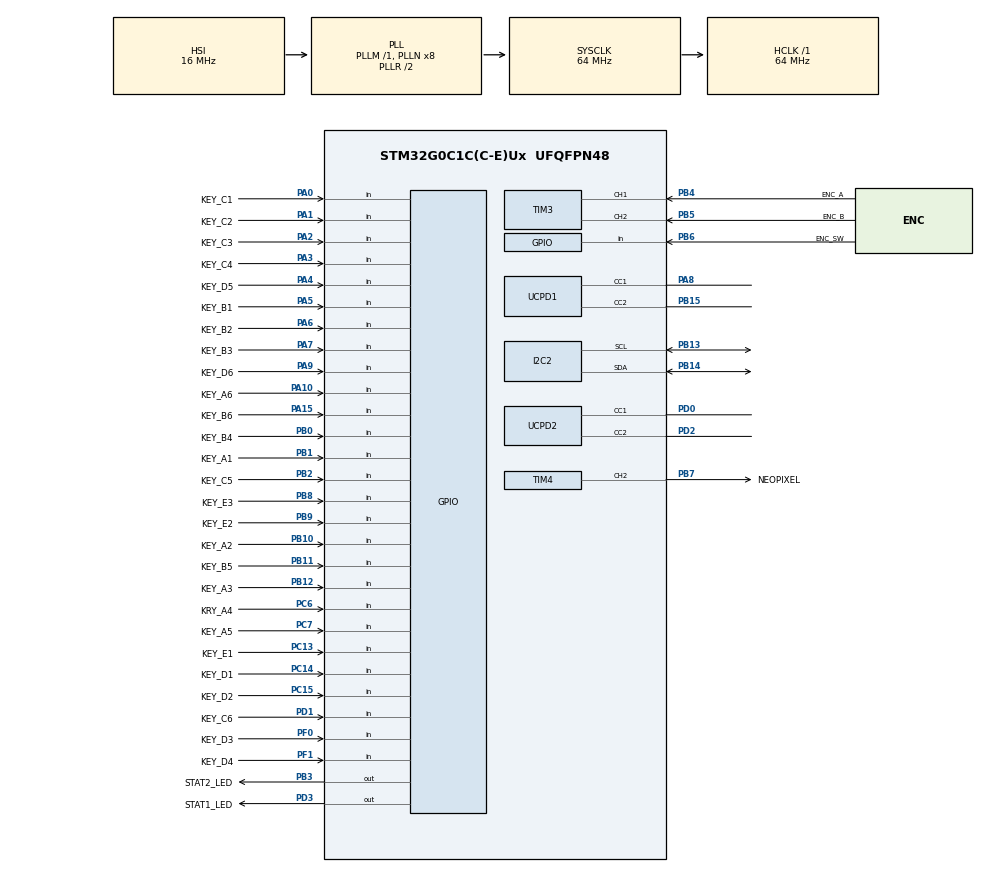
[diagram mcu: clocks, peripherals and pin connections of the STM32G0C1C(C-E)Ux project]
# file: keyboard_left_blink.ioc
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Dma.Request0=TIM4_CH2
Dma.TIM4_CH2.0.Direction=DMA_MEMORY_TO_PERIPH
Dma.TIM4_CH2.0.EventEnable=DISABLE
Dma.TIM4_CH2.0.Instance=DMA1_Channel1
Dma.TIM4_CH2.0.MemDataAlignment=DMA_MDATAALIGN_WORD
Dma.TIM4_CH2.0.MemInc=DMA_MINC_ENABLE
Dma.TIM4_CH2.0.Mode=DMA_CIRCULAR
Dma.TIM4_CH2.0.PeriphDataAlignment=DMA_PDATAALIGN_WORD
Dma.TIM4_CH2.0.PeriphInc=DMA_PINC_DISABLE
Dma.TIM4_CH2.0.Polarity=HAL_DMAMUX_REQ_GEN_RISING
Dma.TIM4_CH2.0.Priority=DMA_PRIORITY_VERY_HIGH
Dma.TIM4_CH2.0.RequestNumber=1
Dma.TIM4_CH2.0.SignalID=NONE
Dma.TIM4_CH2.0.SyncEnable=DISABLE
Dma.TIM4_CH2.0.SyncPolarity=HAL_DMAMUX_SYNC_NO_EVENT
Dma.TIM4_CH2.0.SyncRequestNumber=1
Dma.TIM4_CH2.0.SyncSignalID=NONE
I2C2.Timing=0x10707DBC
Mcu.Family=STM32G0
Mcu.Name=STM32G0C1C(C-E)Ux
Mcu.Package=UFQFPN48
NVIC.DMA1_Channel1_IRQn=true\:0\:0\:false\:false\:true\:false\:true\:true
NVIC.RCC_IRQn=true\:0\:0\:false\:false\:true\:true\:false\:true
NVIC.TIM3_TIM4_IRQn=true\:0\:0\:false\:false\:true\:true\:true\:true
PA0.GPIO_Label=KEY_C1
PA0.GPIO_PuPd=GPIO_PULLUP
PA0.Signal=GPIO_Input
PA1.GPIO_Label=KEY_C2
PA1.GPIO_PuPd=GPIO_PULLUP
PA1.Signal=GPIO_Input
PA10.GPIO_Label=KEY_A6
PA10.GPIO_PuPd=GPIO_PULLUP
PA10.Signal=GPIO_Input
PA13.Mode=Serial_Wire
PA13.Signal=SYS_SWDIO
PA14-BOOT0.Mode=Serial_Wire
PA14-BOOT0.Signal=SYS_SWCLK
PA15.GPIO_Label=KEY_B6
PA15.GPIO_PuPd=GPIO_PULLUP
PA15.Signal=GPIO_Input
PA2.GPIO_Label=KEY_C3
PA2.GPIO_PuPd=GPIO_PULLUP
PA2.Signal=GPIO_Input
PA3.GPIO_Label=KEY_C4
PA3.GPIO_PuPd=GPIO_PULLUP
PA3.Signal=GPIO_Input
PA4.GPIO_Label=KEY_D5
PA4.GPIO_PuPd=GPIO_PULLUP
PA4.Signal=GPIO_Input
PA5.GPIO_Label=KEY_B1
PA5.GPIO_PuPd=GPIO_PULLUP
PA5.Signal=GPIO_Input
PA6.GPIO_Label=KEY_B2
PA6.GPIO_PuPd=GPIO_PULLUP
PA6.Signal=GPIO_Input
PA7.GPIO_Label=KEY_B3
PA7.GPIO_PuPd=GPIO_PULLUP
PA7.Signal=GPIO_Input
PA8.Mode=Dual_Role_AllSignals
PA8.Signal=UCPD1_CC1
PA9.GPIO_Label=KEY_D6
PA9.GPIO_PuPd=GPIO_PULLUP
PA9.Signal=GPIO_Input
PB0.GPIO_Label=KEY_B4
PB0.GPIO_PuPd=GPIO_PULLUP
PB0.Signal=GPIO_Input
PB1.GPIO_Label=KEY_A1
PB1.GPIO_PuPd=GPIO_PULLUP
PB1.Signal=GPIO_Input
PB10.GPIO_Label=KEY_A2
PB10.GPIO_PuPd=GPIO_PULLUP
PB10.Signal=GPIO_Input
PB11.GPIO_Label=KEY_B5
PB11.GPIO_PuPd=GPIO_PULLUP
PB11.Signal=GPIO_Input
PB12.GPIO_Label=KEY_A3
PB12.GPIO_PuPd=GPIO_PULLUP
PB12.Signal=GPIO_Input
PB13.Mode=I2C
PB13.Signal=I2C2_SCL
PB14.Mode=I2C
PB14.Signal=I2C2_SDA
PB15.Mode=Dual_Role_AllSignals
PB15.Signal=UCPD1_CC2
PB2.GPIO_Label=KEY_C5
PB2.GPIO_PuPd=GPIO_PULLUP
PB2.Signal=GPIO_Input
PB3.GPIO_Label=STAT2_LED
PB3.Signal=GPIO_Output
PB4.GPIO_Label=ENC_A
PB4.Signal=S_TIM3_CH1
PB5.GPIO_Label=ENC_B
PB5.Signal=S_TIM3_CH2
PB6.GPIO_Label=ENC_SW
PB6.GPIO_PuPd=GPIO_PULLUP
PB6.Signal=GPIO_Input
PB7.GPIO_Label=NEOPIXEL
PB7.Signal=S_TIM4_CH2
PB8.GPIO_Label=KEY_E3
PB8.GPIO_PuPd=GPIO_PULLUP
PB8.Signal=GPIO_Input
PB9.GPIO_Label=KEY_E2
PB9.GPIO_PuPd=GPIO_PULLUP
PB9.Signal=GPIO_Input
PC13.GPIO_Label=KEY_E1
PC13.GPIO_PuPd=GPIO_PULLUP
PC13.Signal=GPIO_Input
PC14-OSC32_IN\ (PC14).GPIO_Label=KEY_D1
PC14-OSC32_IN\ (PC14).GPIO_PuPd=GPIO_PULLUP
PC14-OSC32_IN\ (PC14).Signal=GPIO_Input
PC15-OSC32_OUT\ (PC15).GPIO_Label=KEY_D2
PC15-OSC32_OUT\ (PC15).GPIO_PuPd=GPIO_PULLUP
PC15-OSC32_OUT\ (PC15).Signal=GPIO_Input
PC6.GPIO_Label=KRY_A4
PC6.GPIO_PuPd=GPIO_PULLUP
PC6.Signal=GPIO_Input
PC7.GPIO_Label=KEY_A5
PC7.GPIO_PuPd=GPIO_PULLUP
PC7.Signal=GPIO_Input
PD0.Mode=Dual_Role_AllSignals
PD0.Signal=UCPD2_CC1
PD1.GPIO_Label=KEY_C6
PD1.GPIO_PuPd=GPIO_PULLUP
PD1.Signal=GPIO_Input
PD2.Mode=Dual_Role_AllSignals
PD2.Signal=UCPD2_CC2
PD3.GPIO_Label=STAT1_LED
PD3.Signal=GPIO_Output
PF0-OSC_IN\ (PF0).GPIO_Label=KEY_D3
PF0-OSC_IN\ (PF0).GPIO_PuPd=GPIO_PULLUP
PF0-OSC_IN\ (PF0).Signal=GPIO_Input
PF1-OSC_OUT\ (PF1).GPIO_Label=KEY_D4
PF1-OSC_OUT\ (PF1).GPIO_PuPd=GPIO_PULLUP
PF1-OSC_OUT\ (PF1).Signal=GPIO_Input
ProjectManager.HeapSize=0x200
ProjectManager.StackSize=0x400
ProjectManager.TargetToolchain=STM32CubeIDE
RCC.ADCFreq_Value=64000000
RCC.AHBFreq_Value=64000000
RCC.CortexFreq_Value=64000000
RCC.EXTERNAL_CLOCK_VALUE=48000
RCC.HCLKFreq_Value=64000000
RCC.HSE_VALUE=8000000
RCC.HSI48_VALUE=48000000
RCC.HSI_VALUE=16000000
RCC.LSE_VALUE=32768
RCC.PLLQ=RCC_PLLQ_DIV4
RCC.SYSCLKFreq_VALUE=64000000
RCC.SYSCLKSource=RCC_SYSCLKSOURCE_PLLCLK
RCC.USBFreq_Value=48000000
RCC.VCOOutputFreq_Value=128000000
SH.S_TIM3_CH1.0=TIM3_CH1,Encoder_Interface
SH.S_TIM3_CH2.0=TIM3_CH2,Encoder_Interface
SH.S_TIM4_CH2.0=TIM4_CH2,PWM Generation2 CH2
SYS.VoltageScaling=SYSCFG_VREFBUF_VOLTAGE_SCALE1
TIM3.EncoderMode=TIM_ENCODERMODE_TI12
TIM4.Channel-PWM\ Generation2\ CH2=TIM_CHANNEL_2
TIM4.OCFastMode_PWM-PWM\ Generation2\ CH2=TIM_OCFAST_DISABLE
TIM4.Period=76
VP_SYS_VS_DBSignals.Mode=DisableDeadBatterySignals
VP_TIM4_VS_ClockSourceINT.Mode=Internal
VREF+.Mode=InternalMode
VREF+.Signal=VREFBUF_OUT
board=custom

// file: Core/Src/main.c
/* USER CODE BEGIN Header */
/**
 ******************************************************************************
 * @file           : main.c
 * @brief          : Main program body
 ******************************************************************************
 * @attention
 *
 * Copyright (c) 2024 STMicroelectronics.
 * All rights reserved.
 *
 * This software is licensed under terms that can be found in the LICENSE file
 * in the root directory of this software component.
 * If no LICENSE file comes with this software, it is provided AS-IS.
 *
 ******************************************************************************
 */
/* USER CODE END Header */
#include "main.h"

/* USER CODE BEGIN Includes */
//#include "neopixel.h"
/* USER CODE END Includes */

/* USER CODE BEGIN PTD */
typedef union
{
	struct
	{
		uint8_t b;
		uint8_t r;
		uint8_t g;
	} color;
	uint32_t data;
} PixelRGB_t;

typedef union
{
	struct
	{
		uint8_t w;
		uint8_t b;
		uint8_t r;
		uint8_t g;
	} color;
	uint32_t data;
} PixelRGBW_t;
/* USER CODE END PTD */

/* USER CODE BEGIN PD */
#define NEOPIXEL_ZERO 19
#define NEOPIXEL_ONE 38

#define NUM_PIXELS 27
#define DMA_BUFF_SIZE (NUM_PIXELS * 24) + 1
/* USER CODE END PD */

I2C_HandleTypeDef hi2c2;

TIM_HandleTypeDef htim3;
TIM_HandleTypeDef htim4;
DMA_HandleTypeDef hdma_tim4_ch2;

void SystemClock_Config(void);
static void MX_GPIO_Init(void);
static void MX_DMA_Init(void);
static void MX_I2C2_Init(void);
static void MX_TIM3_Init(void);
static void MX_TIM4_Init(void);
static void MX_UCPD1_Init(void);
static void MX_UCPD2_Init(void);

/* USER CODE BEGIN 0 */

void HAL_TIM_PWM_PulseFinishedCallback(TIM_HandleTypeDef *htim)
{
	if (htim->Instance == TIM4){
		HAL_TIM_PWM_Stop_DMA(htim, TIM_CHANNEL_2);
	}

}
/* USER CODE END 0 */

int main(void)
{

  /* USER CODE BEGIN 1 */
	PixelRGB_t pixel[NUM_PIXELS] = {0};
	uint32_t dmaBuffer[DMA_BUFF_SIZE] = {0};
	uint32_t *pBuff;
	int i, j, k;
	uint16_t stepSize;
  /* USER CODE END 1 */

  /* MCU Configuration--------------------------------------------------------*/

  /* Reset of all peripherals, Initializes the Flash interface and the Systick. */
  HAL_Init();

  /* Configure the system clock */
  SystemClock_Config();

  /* Initialize all configured peripherals */
  MX_GPIO_Init();
  MX_DMA_Init();
  MX_I2C2_Init();
  MX_TIM3_Init();
  MX_TIM4_Init();
  MX_UCPD1_Init();
  MX_UCPD2_Init();

  /* Infinite loop */
  /* USER CODE BEGIN WHILE */
	k = 0;
	stepSize = 4;
	while (1)
	{

		HAL_GPIO_TogglePin(STAT1_LED_GPIO_Port, STAT1_LED_Pin);
    /* USER CODE END WHILE */

    /* USER CODE BEGIN 3 */
		for (i = (NUM_PIXELS - 1); i > 0; i--)
		{
			pixel[i].data = pixel[i-1].data;
		}

		if (k < 255)
		{
			pixel[0].color.g = 254 - k; //[254, 0]
			pixel[0].color.r =  k + 1;  //[1, 255]
			pixel[0].color.b = 0;
		}
		else if (k < 510)
		{
			pixel[0].color.g = 0;
			pixel[0].color.r = 509 - k; //[254, 0]
			pixel[0].color.b = k - 254; //[1, 255]
			j++;
		}
		else if (k < 765)
		{
			pixel[0].color.g = k - 509; //[1, 255];
			pixel[0].color.r = 0;
			pixel[0].color.b = 764 - k; //[254, 0]
		}
		k = (k + stepSize) % 765;

		// not so bright
//		pixel[0].color.g >>= 2;
//		pixel[0].color.r >>= 2;
//		pixel[0].color.b >>= 2;
		pixel[0].color.g = 0;
		pixel[0].color.r = 0;
		pixel[0].color.b = 0;

		pBuff = dmaBuffer;
		for (i = 0; i < NUM_PIXELS; i++)
		{
			for (j = 23; j >= 0; j--)
			{
				if ((pixel[i].data >> j) & 0x01)
				{
					*pBuff = NEOPIXEL_ONE;
				}
				else
				{
					*pBuff = NEOPIXEL_ZERO;
				}
				pBuff++;
			}
		}
		dmaBuffer[DMA_BUFF_SIZE - 1] = 0; // last element must be 0!

		HAL_TIM_PWM_Start_DMA(&htim4, TIM_CHANNEL_2, dmaBuffer, DMA_BUFF_SIZE);

		HAL_Delay(10);
	}
  /* USER CODE END 3 */
}

void SystemClock_Config(void)
{
  RCC_OscInitTypeDef RCC_OscInitStruct = {0};
  RCC_ClkInitTypeDef RCC_ClkInitStruct = {0};

  /** Configure the main internal regulator output voltage
  */
  HAL_PWREx_ControlVoltageScaling(PWR_REGULATOR_VOLTAGE_SCALE1);

  /** Initializes the RCC Oscillators according to the specified parameters
  * in the RCC_OscInitTypeDef structure.
  */
  RCC_OscInitStruct.OscillatorType = RCC_OSCILLATORTYPE_HSI;
  RCC_OscInitStruct.HSIState = RCC_HSI_ON;
  RCC_OscInitStruct.HSIDiv = RCC_HSI_DIV1;
  RCC_OscInitStruct.HSICalibrationValue = RCC_HSICALIBRATION_DEFAULT;
  RCC_OscInitStruct.PLL.PLLState = RCC_PLL_ON;
  RCC_OscInitStruct.PLL.PLLSource = RCC_PLLSOURCE_HSI;
  RCC_OscInitStruct.PLL.PLLM = RCC_PLLM_DIV1;
  RCC_OscInitStruct.PLL.PLLN = 8;
  RCC_OscInitStruct.PLL.PLLP = RCC_PLLP_DIV2;
  RCC_OscInitStruct.PLL.PLLQ = RCC_PLLQ_DIV4;
  RCC_OscInitStruct.PLL.PLLR = RCC_PLLR_DIV2;
  if (HAL_RCC_OscConfig(&RCC_OscInitStruct) != HAL_OK)
  {
    Error_Handler();
  }

  /** Initializes the CPU, AHB and APB buses clocks
  */
  RCC_ClkInitStruct.ClockType = RCC_CLOCKTYPE_HCLK|RCC_CLOCKTYPE_SYSCLK
                              |RCC_CLOCKTYPE_PCLK1;
  RCC_ClkInitStruct.SYSCLKSource = RCC_SYSCLKSOURCE_PLLCLK;
  RCC_ClkInitStruct.AHBCLKDivider = RCC_SYSCLK_DIV1;
  RCC_ClkInitStruct.APB1CLKDivider = RCC_HCLK_DIV1;

  if (HAL_RCC_ClockConfig(&RCC_ClkInitStruct, FLASH_LATENCY_2) != HAL_OK)
  {
    Error_Handler();
  }
}

static void MX_I2C2_Init(void)
{

  hi2c2.Instance = I2C2;
  hi2c2.Init.Timing = 0x10707DBC;
  hi2c2.Init.OwnAddress1 = 0;
  hi2c2.Init.AddressingMode = I2C_ADDRESSINGMODE_7BIT;
  hi2c2.Init.DualAddressMode = I2C_DUALADDRESS_DISABLE;
  hi2c2.Init.OwnAddress2 = 0;
  hi2c2.Init.OwnAddress2Masks = I2C_OA2_NOMASK;
  hi2c2.Init.GeneralCallMode = I2C_GENERALCALL_DISABLE;
  hi2c2.Init.NoStretchMode = I2C_NOSTRETCH_DISABLE;
  if (HAL_I2C_Init(&hi2c2) != HAL_OK)
  {
    Error_Handler();
  }

  /** Configure Analogue filter
  */
  if (HAL_I2CEx_ConfigAnalogFilter(&hi2c2, I2C_ANALOGFILTER_ENABLE) != HAL_OK)
  {
    Error_Handler();
  }

  /** Configure Digital filter
  */
  if (HAL_I2CEx_ConfigDigitalFilter(&hi2c2, 0) != HAL_OK)
  {
    Error_Handler();
  }

}

static void MX_TIM3_Init(void)
{

  TIM_Encoder_InitTypeDef sConfig = {0};
  TIM_MasterConfigTypeDef sMasterConfig = {0};

  htim3.Instance = TIM3;
  htim3.Init.Prescaler = 0;
  htim3.Init.CounterMode = TIM_COUNTERMODE_UP;
  htim3.Init.Period = 65535;
  htim3.Init.ClockDivision = TIM_CLOCKDIVISION_DIV1;
  htim3.Init.AutoReloadPreload = TIM_AUTORELOAD_PRELOAD_DISABLE;
  sConfig.EncoderMode = TIM_ENCODERMODE_TI12;
  sConfig.IC1Polarity = TIM_ICPOLARITY_RISING;
  sConfig.IC1Selection = TIM_ICSELECTION_DIRECTTI;
  sConfig.IC1Prescaler = TIM_ICPSC_DIV1;
  sConfig.IC1Filter = 0;
  sConfig.IC2Polarity = TIM_ICPOLARITY_RISING;
  sConfig.IC2Selection = TIM_ICSELECTION_DIRECTTI;
  sConfig.IC2Prescaler = TIM_ICPSC_DIV1;
  sConfig.IC2Filter = 0;
  if (HAL_TIM_Encoder_Init(&htim3, &sConfig) != HAL_OK)
  {
    Error_Handler();
  }
  sMasterConfig.MasterOutputTrigger = TIM_TRGO_RESET;
  sMasterConfig.MasterSlaveMode = TIM_MASTERSLAVEMODE_DISABLE;
  if (HAL_TIMEx_MasterConfigSynchronization(&htim3, &sMasterConfig) != HAL_OK)
  {
    Error_Handler();
  }

}

static void MX_TIM4_Init(void)
{

  TIM_ClockConfigTypeDef sClockSourceConfig = {0};
  TIM_MasterConfigTypeDef sMasterConfig = {0};
  TIM_OC_InitTypeDef sConfigOC = {0};

  htim4.Instance = TIM4;
  htim4.Init.Prescaler = 0;
  htim4.Init.CounterMode = TIM_COUNTERMODE_UP;
  htim4.Init.Period = 76;
  htim4.Init.ClockDivision = TIM_CLOCKDIVISION_DIV1;
  htim4.Init.AutoReloadPreload = TIM_AUTORELOAD_PRELOAD_DISABLE;
  if (HAL_TIM_Base_Init(&htim4) != HAL_OK)
  {
    Error_Handler();
  }
  sClockSourceConfig.ClockSource = TIM_CLOCKSOURCE_INTERNAL;
  if (HAL_TIM_ConfigClockSource(&htim4, &sClockSourceConfig) != HAL_OK)
  {
    Error_Handler();
  }
  if (HAL_TIM_PWM_Init(&htim4) != HAL_OK)
  {
    Error_Handler();
  }
  sMasterConfig.MasterOutputTrigger = TIM_TRGO_RESET;
  sMasterConfig.MasterSlaveMode = TIM_MASTERSLAVEMODE_DISABLE;
  if (HAL_TIMEx_MasterConfigSynchronization(&htim4, &sMasterConfig) != HAL_OK)
  {
    Error_Handler();
  }
  sConfigOC.OCMode = TIM_OCMODE_PWM1;
  sConfigOC.Pulse = 0;
  sConfigOC.OCPolarity = TIM_OCPOLARITY_HIGH;
  sConfigOC.OCFastMode = TIM_OCFAST_DISABLE;
  if (HAL_TIM_PWM_ConfigChannel(&htim4, &sConfigOC, TIM_CHANNEL_2) != HAL_OK)
  {
    Error_Handler();
  }
  HAL_TIM_MspPostInit(&htim4);

}

static void MX_UCPD1_Init(void)
{

  LL_GPIO_InitTypeDef GPIO_InitStruct = {0};

  /* Peripheral clock enable */
  LL_APB1_GRP1_EnableClock(LL_APB1_GRP1_PERIPH_UCPD1);

  LL_IOP_GRP1_EnableClock(LL_IOP_GRP1_PERIPH_GPIOB);
  LL_IOP_GRP1_EnableClock(LL_IOP_GRP1_PERIPH_GPIOA);
  /**UCPD1 GPIO Configuration
  PB15   ------> UCPD1_CC2
  PA8   ------> UCPD1_CC1
  */
  GPIO_InitStruct.Pin = LL_GPIO_PIN_15;
  GPIO_InitStruct.Mode = LL_GPIO_MODE_ANALOG;
  GPIO_InitStruct.Pull = LL_GPIO_PULL_NO;
  LL_GPIO_Init(GPIOB, &GPIO_InitStruct);

  GPIO_InitStruct.Pin = LL_GPIO_PIN_8;
  GPIO_InitStruct.Mode = LL_GPIO_MODE_ANALOG;
  GPIO_InitStruct.Pull = LL_GPIO_PULL_NO;
  LL_GPIO_Init(GPIOA, &GPIO_InitStruct);

}

static void MX_UCPD2_Init(void)
{

  LL_GPIO_InitTypeDef GPIO_InitStruct = {0};

  /* Peripheral clock enable */
  LL_APB1_GRP1_EnableClock(LL_APB1_GRP1_PERIPH_UCPD2);

  LL_IOP_GRP1_EnableClock(LL_IOP_GRP1_PERIPH_GPIOD);
  /**UCPD2 GPIO Configuration
  PD0   ------> UCPD2_CC1
  PD2   ------> UCPD2_CC2
  */
  GPIO_InitStruct.Pin = LL_GPIO_PIN_0;
  GPIO_InitStruct.Mode = LL_GPIO_MODE_ANALOG;
  GPIO_InitStruct.Pull = LL_GPIO_PULL_NO;
  LL_GPIO_Init(GPIOD, &GPIO_InitStruct);

  GPIO_InitStruct.Pin = LL_GPIO_PIN_2;
  GPIO_InitStruct.Mode = LL_GPIO_MODE_ANALOG;
  GPIO_InitStruct.Pull = LL_GPIO_PULL_NO;
  LL_GPIO_Init(GPIOD, &GPIO_InitStruct);

}

static void MX_DMA_Init(void)
{

  /* DMA controller clock enable */
  __HAL_RCC_DMA1_CLK_ENABLE();

  /* DMA interrupt init */
  /* DMA1_Channel1_IRQn interrupt configuration */
  HAL_NVIC_SetPriority(DMA1_Channel1_IRQn, 0, 0);
  HAL_NVIC_EnableIRQ(DMA1_Channel1_IRQn);

}

static void MX_GPIO_Init(void)
{
  GPIO_InitTypeDef GPIO_InitStruct = {0};

  /* GPIO Ports Clock Enable */
  __HAL_RCC_GPIOC_CLK_ENABLE();
  __HAL_RCC_GPIOF_CLK_ENABLE();
  __HAL_RCC_GPIOA_CLK_ENABLE();
  __HAL_RCC_GPIOB_CLK_ENABLE();
  __HAL_RCC_GPIOD_CLK_ENABLE();

  /*Configure GPIO pin Output Level */
  HAL_GPIO_WritePin(STAT1_LED_GPIO_Port, STAT1_LED_Pin, GPIO_PIN_RESET);

  /*Configure GPIO pin Output Level */
  HAL_GPIO_WritePin(STAT2_LED_GPIO_Port, STAT2_LED_Pin, GPIO_PIN_RESET);

  /*Configure GPIO pins : KEY_E1_Pin KEY_D1_Pin KEY_D2_Pin KRY_A4_Pin
                           KEY_A5_Pin */
  GPIO_InitStruct.Pin = KEY_E1_Pin|KEY_D1_Pin|KEY_D2_Pin|KRY_A4_Pin
                          |KEY_A5_Pin;
  GPIO_InitStruct.Mode = GPIO_MODE_INPUT;
  GPIO_InitStruct.Pull = GPIO_PULLUP;
  HAL_GPIO_Init(GPIOC, &GPIO_InitStruct);

  /*Configure GPIO pins : KEY_D3_Pin KEY_D4_Pin */
  GPIO_InitStruct.Pin = KEY_D3_Pin|KEY_D4_Pin;
  GPIO_InitStruct.Mode = GPIO_MODE_INPUT;
  GPIO_InitStruct.Pull = GPIO_PULLUP;
  HAL_GPIO_Init(GPIOF, &GPIO_InitStruct);

  /*Configure GPIO pins : KEY_C1_Pin KEY_C2_Pin KEY_C3_Pin KEY_C4_Pin
                           KEY_D5_Pin KEY_B1_Pin KEY_B2_Pin KEY_B3_Pin
                           KEY_D6_Pin KEY_A6_Pin KEY_B6_Pin */
  GPIO_InitStruct.Pin = KEY_C1_Pin|KEY_C2_Pin|KEY_C3_Pin|KEY_C4_Pin
                          |KEY_D5_Pin|KEY_B1_Pin|KEY_B2_Pin|KEY_B3_Pin
                          |KEY_D6_Pin|KEY_A6_Pin|KEY_B6_Pin;
  GPIO_InitStruct.Mode = GPIO_MODE_INPUT;
  GPIO_InitStruct.Pull = GPIO_PULLUP;
  HAL_GPIO_Init(GPIOA, &GPIO_InitStruct);

  /*Configure GPIO pins : KEY_B4_Pin KEY_A1_Pin KEY_C5_Pin KEY_A2_Pin
                           KEY_B5_Pin KEY_A3_Pin ENC_SW_Pin KEY_E3_Pin
                           KEY_E2_Pin */
  GPIO_InitStruct.Pin = KEY_B4_Pin|KEY_A1_Pin|KEY_C5_Pin|KEY_A2_Pin
                          |KEY_B5_Pin|KEY_A3_Pin|ENC_SW_Pin|KEY_E3_Pin
                          |KEY_E2_Pin;
  GPIO_InitStruct.Mode = GPIO_MODE_INPUT;
  GPIO_InitStruct.Pull = GPIO_PULLUP;
  HAL_GPIO_Init(GPIOB, &GPIO_InitStruct);

  /*Configure GPIO pin : KEY_C6_Pin */
  GPIO_InitStruct.Pin = KEY_C6_Pin;
  GPIO_InitStruct.Mode = GPIO_MODE_INPUT;
  GPIO_InitStruct.Pull = GPIO_PULLUP;
  HAL_GPIO_Init(KEY_C6_GPIO_Port, &GPIO_InitStruct);

  /*Configure GPIO pin : STAT1_LED_Pin */
  GPIO_InitStruct.Pin = STAT1_LED_Pin;
  GPIO_InitStruct.Mode = GPIO_MODE_OUTPUT_PP;
  GPIO_InitStruct.Pull = GPIO_NOPULL;
  GPIO_InitStruct.Speed = GPIO_SPEED_FREQ_LOW;
  HAL_GPIO_Init(STAT1_LED_GPIO_Port, &GPIO_InitStruct);

  /*Configure GPIO pin : STAT2_LED_Pin */
  GPIO_InitStruct.Pin = STAT2_LED_Pin;
  GPIO_InitStruct.Mode = GPIO_MODE_OUTPUT_PP;
  GPIO_InitStruct.Pull = GPIO_NOPULL;
  GPIO_InitStruct.Speed = GPIO_SPEED_FREQ_LOW;
  HAL_GPIO_Init(STAT2_LED_GPIO_Port, &GPIO_InitStruct);

}

void Error_Handler(void)
{
	__disable_irq();
	while (1)
	{
	}
}
